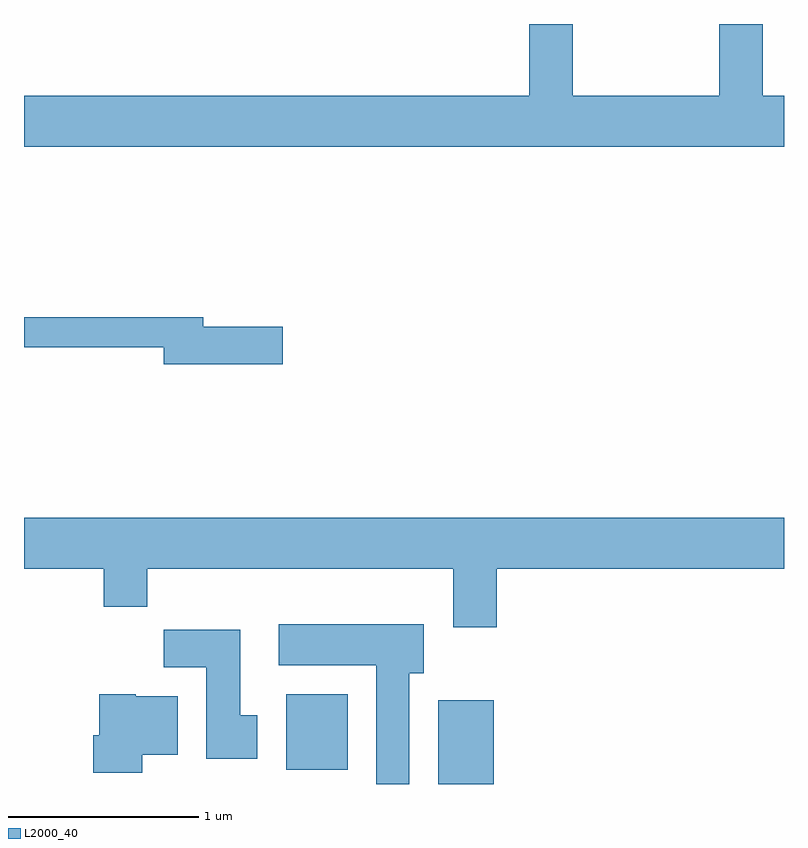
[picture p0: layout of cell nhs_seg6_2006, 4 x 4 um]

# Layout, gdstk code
import gdstk
lib = gdstk.Library(unit=1e-6, precision=1e-09)
def R(c, l, rs):  # rectangles x0, y0, x1, y1
    for r in rs: c.add(gdstk.rectangle(r[:2], r[2:], *l))
def P(c, l, *ps):  # polygons
    for p in ps: c.add(gdstk.Polygon(p, *l))
L2000_40 = (2000, 40)

nhs_seg6_2006 = lib.new_cell('nhs_seg6_2006')
R(nhs_seg6_2006, L2000_40, [(247.791,1622.162,248.084,1622.604), (246.991,1622.236,247.314,1622.634)])
P(nhs_seg6_2006, L2000_40, [(249.611,1625.784),(249.499,1625.784),(249.499,1626.162),(249.271,1626.162),(249.271,1625.784),(248.499,1625.784),(248.499,1626.162),(248.271,1626.162),(248.271,1625.784),(245.611,1625.784),(245.611,1625.516),(249.611,1625.516)],
  [(246.974,1624.569),(246.554,1624.569),(246.554,1624.619),(245.611,1624.619),(245.611,1624.461),(246.346,1624.461),(246.346,1624.371),(246.974,1624.371)],
  [(245.611,1623.296),(246.031,1623.296),(246.031,1623.096),(246.259,1623.096),(246.259,1623.296),(247.871,1623.296),(247.871,1622.986),(248.099,1622.986),(248.099,1623.296),(249.611,1623.296),(249.611,1623.564),(245.611,1623.564)],
  [(247.639,1622.746),(247.714,1622.746),(247.714,1623.004),(246.951,1623.004),(246.951,1622.786),(247.466,1622.786),(247.466,1622.162),(247.639,1622.162)],
  [(246.839,1622.524),(246.749,1622.524),(246.749,1622.974),(246.346,1622.974),(246.346,1622.776),(246.571,1622.776),(246.571,1622.296),(246.839,1622.296)],
  [(246.234,1622.316),(246.419,1622.316),(246.419,1622.624),(246.2,1622.624),(246.2,1622.634),(246.006,1622.634),(246.006,1622.419),(245.976,1622.419),(245.976,1622.221),(246.234,1622.221)])

lib.write_gds('nhs_seg6_2006.gds')
